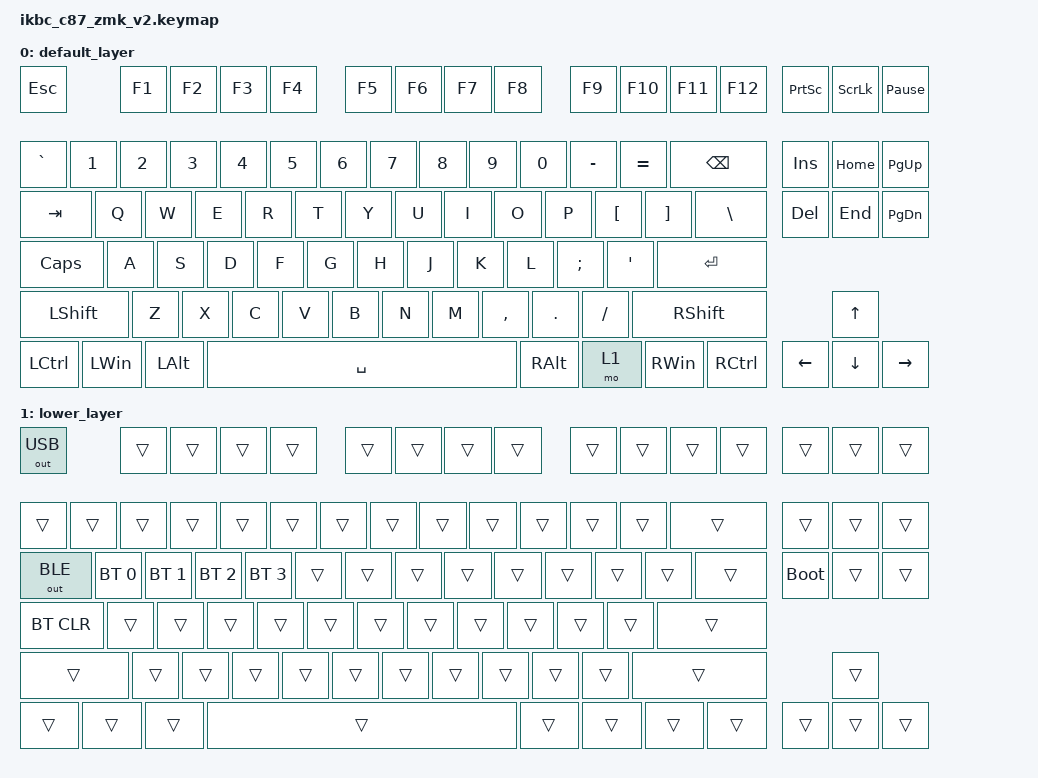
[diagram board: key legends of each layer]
#include <behaviors.dtsi>
#include <dt-bindings/zmk/keys.h>
#include <dt-bindings/zmk/bt.h>
#include <dt-bindings/zmk/outputs.h>
#define DEFAULT 0
#define LWR 1
#define RSE 2
#define ADJ 3

#define HYPER(key) LS(LC(LA(LG(key))))
#define MEH(key)   LS(LC(LA(key)))

&sl {
release-after-ms = <5000>;
};


&kscan0 {
debounce-press-ms = <30>;
debounce-release-ms = <30>;
};

/ {
    keymap {
        compatible = "zmk,keymap";

        default_layer {
            bindings = <
                &kp ESC &kp F1 &kp F2 &kp F3 &kp F4 &kp F5 &kp F6 &kp F7 &kp F8 &kp F9 &kp F10 &kp F11 &kp F12 &kp PSCRN &kp SLCK &kp PAUSE_BREAK
                &kp GRAVE &kp N1 &kp N2 &kp N3 &kp N4 &kp N5 &kp N6 &kp N7 &kp N8 &kp N9 &kp N0 &kp MINUS &kp EQUAL &kp BSPC &kp INS &kp HOME &kp PG_UP
                &kp TAB &kp Q &kp W &kp E &kp R &kp T &kp Y &kp U &kp I &kp O &kp P &kp LBKT &kp RBKT &kp BSLH &kp DEL &kp END  &kp PG_DN
                &kp CLCK &kp A &kp S &kp D &kp F &kp G &kp H &kp J &kp K &kp L &kp SEMI  &kp APOS &kp RET
                &kp LSHFT &kp Z &kp X &kp C &kp V &kp B &kp N &kp M &kp COMMA  &kp DOT &kp FSLH &kp RSHFT &kp UP
                &kp LCTRL &kp LWIN &kp LALT &kp SPACE &kp RALT &mo 1 &kp RWIN  &kp RCTRL &kp LEFT  &kp DOWN &kp RIGHT
            >;
        };

        lower_layer {
            bindings = <
                &out OUT_USB    &trans       &trans &trans &trans       &trans       &trans &trans &trans   &trans &trans &trans &trans              &trans      &trans &trans
                &trans          &trans       &trans &trans &trans       &trans       &trans &trans &trans &trans &trans &trans &trans &trans         &trans      &trans &trans
                &out OUT_BLE    &bt BT_SEL 0 &bt BT_SEL 1  &bt BT_SEL 2 &bt BT_SEL 3 &trans &trans &trans &trans &trans &trans &trans &trans &trans  &bootloader &trans &trans
                &bt BT_CLR      &trans       &trans        &trans       &trans       &trans &trans &trans &trans &trans &trans &trans   &trans
                &trans          &trans       &trans        &trans       &trans       &trans &trans &trans &trans &trans &trans          &trans                   &trans
                &trans   &trans   &trans                    &trans                 &trans   &trans   &trans   &trans                                 &trans      &trans &trans
            >;
        };
    };
};
